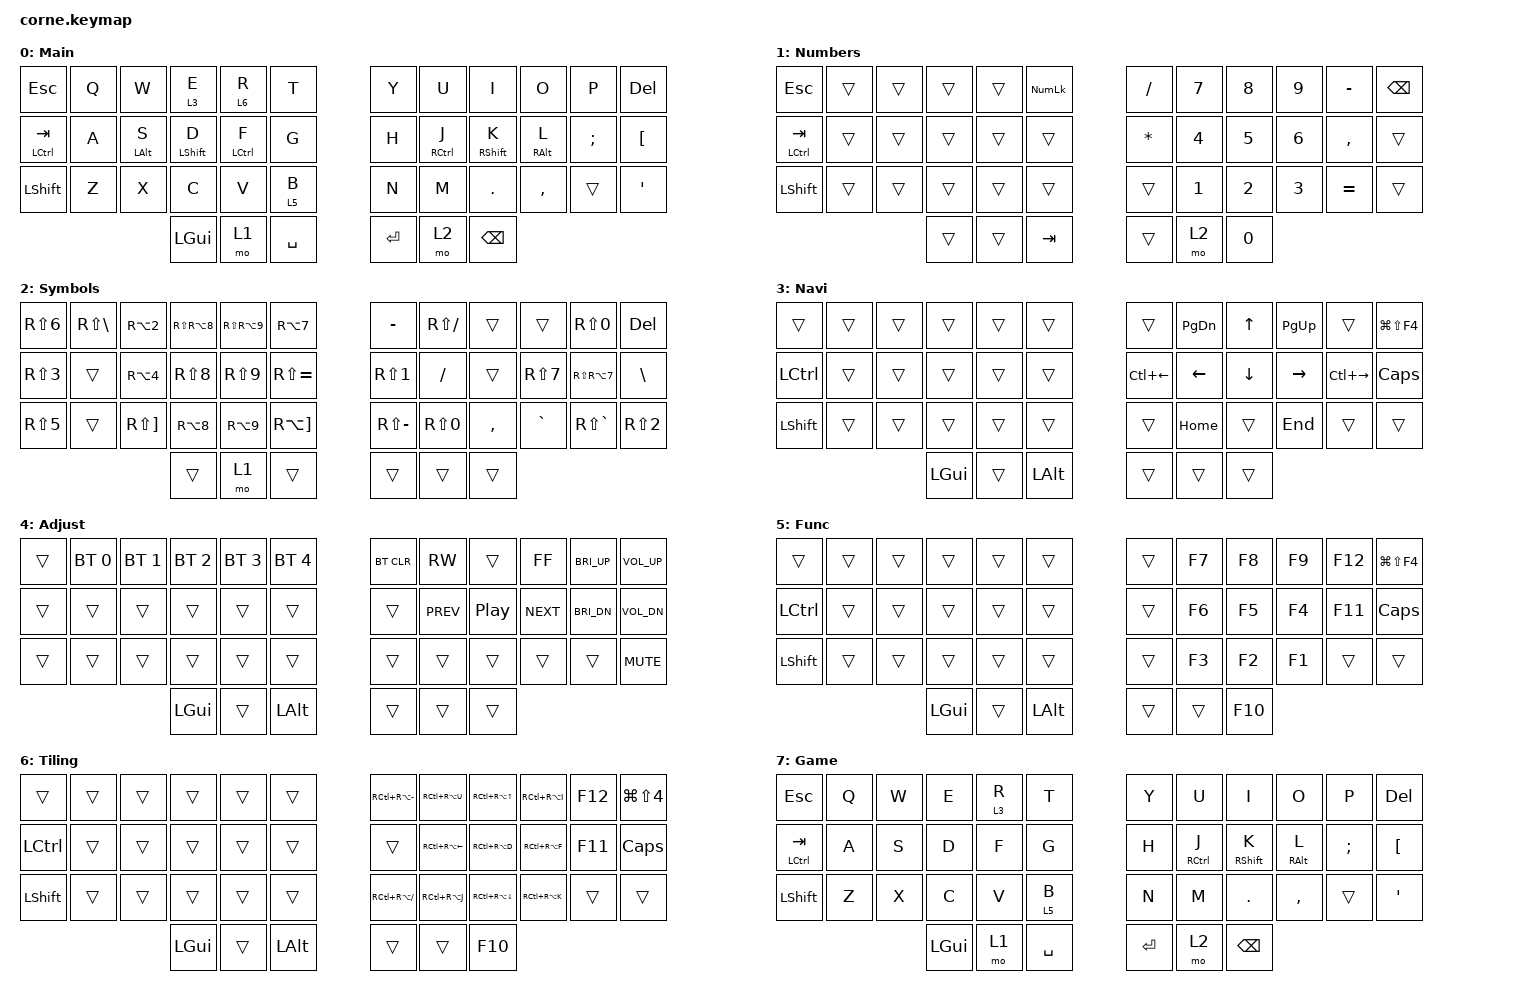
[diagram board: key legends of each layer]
/*
 * Copyright (c) 2020 The ZMK Contributors
 *
 * SPDX-License-Identifier: MIT
 */

#include <behaviors.dtsi>
#include <dt-bindings/zmk/keys.h>
#include <dt-bindings/zmk/bt.h>
#include <zmk-helpers/helper.h>
#include <zmk-helpers/key-labels/42.h>

#define DEF     0
#define NUM     1
#define CHARS   2
#define NAVI    3
#define ADJS    4
#define FUNC    5
#define WIN     6
#define GAM     7

#define LINUX 1

// Override key groups from 42.h to exclude outer columns (for HRM trigger positions)
#undef KEYS_L
#undef KEYS_R
#undef THUMBS
#define KEYS_L LT0 LT1 LT2 LT3 LT4 LM0 LM1 LM2 LM3 LM4 LB0 LB1 LB2 LB3 LB4  // left-hand keys
#define KEYS_R RT0 RT1 RT2 RT3 RT4 RM0 RM1 RM2 RM3 RM4 RB0 RB1 RB2 RB3 RB4  // right-hand keys
#define THUMBS LH2 LH1 LH0 RH0 RH1 RH2                                      // thumb keys

#define ___ &trans

#define HOST_OS LINUX // Needed for unicode international_chars

// "Timeless" homerow mods (based on urob's config)
// - balanced flavor: mod activates when another key is pressed+released while holding
// - hold-trigger-on-release: allows combining mods on same hand, prevents rolling misfires
// - 280ms tapping-term: large value makes behavior timer-insensitive
// - 175ms quick-tap: rapid same-key repeats always produce taps
// - 175ms require-prior-idle: eliminates HRM misfires during fast typing
ZMK_BEHAVIOR(hml, hold_tap,  // left-hand HRMs
    flavor = "balanced";
    tapping-term-ms = <280>;
    quick-tap-ms = <175>;
    require-prior-idle-ms = <175>;
    bindings = <&kp>, <&kp>;
    hold-trigger-key-positions = <KEYS_R THUMBS>;
    hold-trigger-on-release;
)

ZMK_BEHAVIOR(hmr, hold_tap,  // right-hand HRMs
    flavor = "balanced";
    tapping-term-ms = <280>;
    quick-tap-ms = <175>;
    require-prior-idle-ms = <175>;
    bindings = <&kp>, <&kp>;
    hold-trigger-key-positions = <KEYS_L THUMBS>;
    hold-trigger-on-release;
)

// Layer-taps with timeless settings (prevents accidental layer activation during fast typing)
// Same approach as HRMs: require-prior-idle prevents misfires, balanced flavor
// ensures layer only activates on deliberate hold + opposite-hand keypress
ZMK_BEHAVIOR(ltl, hold_tap,  // left-hand layer-taps (E/NAV, R/WIN, B/FUNC)
    flavor = "balanced";
    tapping-term-ms = <280>;
    quick-tap-ms = <175>;
    require-prior-idle-ms = <175>;
    bindings = <&mo>, <&kp>;
    hold-trigger-key-positions = <KEYS_R THUMBS>;
    hold-trigger-on-release;
)


// combos
#undef COMBO_TERM
#define COMBO_TERM 40  // timeout of 40ms (default is 30ms if omitted)
ZMK_COMBO(combo_copy,   &kp LC(C),  LB2 LB3, DEF NUM CHARS NAVI ADJS FUNC WIN)  // X+C keys → Ctrl+C
ZMK_COMBO(combo_paste,  &kp LC(V),  LB1 LB2, DEF NUM CHARS NAVI ADJS FUNC WIN)  // V+C keys → Ctrl+V
ZMK_COMBO(combo_undo,   &kp LC(Z),  LB3 LB4, DEF NUM CHARS NAVI ADJS FUNC WIN)  // Z+X keys → Ctrl+Z
ZMK_COMBO(combo_cut,    &kp LC(X),  LB1 LB3, DEF NUM CHARS NAVI ADJS FUNC WIN)  // V+X keys → Ctrl+X
ZMK_COMBO(toggle_game,  &tog GAM,   RT1 RT4, DEF GAM, 25, 500)                   // U+P keys → toggle gaming (tight 25ms window, 500ms idle required)
ZMK_COMBO(combo_caps,   &caps_word, LM0 RM0, DEF GAM)                            // G+H keys → caps word
ZMK_COMBO(combo_sticky_shift, &sk LSHIFT, LH0 RH0, DEF GAM)                     // Space+Enter → one-shot shift

// tri-layer: holding NUM + CHARS simultaneously activates Adjust layer
ZMK_CONDITIONAL_LAYER(adjust_tri, NUM CHARS, ADJS)


ZMK_LAYER(Main,
    // DEFAULT LAYER
    // .--------------------------------------------------------------.       .-----------------------------------------------------------.
    // |   ESC        |    Q    |    W   |  E/NAV | R/WIN   |    T    |       |   Y   |    U    |    I    |    O    |     P    |   BKSP   |
          &kp ESC       &kp Q    &kp W     &ltl 3 E  &ltl 6 R    &kp T            &kp Y      &kp U      &kp I      &kp O    &kp P  &kp DEL
    // |--------------+---------+--------+--------+---------+---------|       |-------+---------+---------+---------+----------+----------|
    // |   CTRL/Tab   |    A    |    S   |   D    | F       |    G    |       |   H   |    J    |    K    |    L    |     Ö    |     Ä    |
          &mt LCTRL TAB &kp A    &hml LALT S  &hml LSHIFT D &hml LCTRL F &kp G    &kp H   &hmr RCTRL J &hmr RSHIFT K &hmr RALT L  &kp SEMI &kp LBKT
    // |--------------+---------+--------+--------+---------+---------|       |-------+---------+---------+---------+----------+----------|
    // |   SHFT       |    Z    |    X   |   C    |    V    | B/FUNC  |       |   N   |    M    |    .    |    ,    |          |    Ä    |
          &kp LSHIFT    &kp Z    &kp X    &kp C    &kp V    &ltl 5 B            &kp N    &kp M     &kp DOT   &kp COMMA ___  &kp SQT
    // '---------------------------------+--------+---------+---------+       |-------+---------+---------+-------------------------------'
    //                                   |  GUI   |  NUM    |   SPC   |       |  ENT  |  CHARS  |  BKSP   |
                                          &kp LGUI  &mo 1  &kp SPACE          &kp RET &mo 2 &kp BSPC
    //                                   '--------+---------+---------'       '-------+---------+---------'

)



ZMK_LAYER(Numbers,
    // NUMBERS Layer: Media and Number Pad
    // .--------------------------------------------------------------.    .-----------------------------------------------------------.
    // |     ESC      |         |        |        |         | Numlock |    |  / ?  |   7 &   |   8 *   |   9 (   |   - _    |   BKSP   |
          &kp ESC      ___    ___    ___    ___ &kp KP_NUMLOCK    &kp FSLH    &kp NUMBER_7  &kp NUMBER_8  &kp NUMBER_9  &kp MINUS  &kp BSPC
    // |--------------+---------+--------+--------+---------+---------|    |-------+---------+---------+---------+----------+----------|
    // |  CTRL/Tab    |         |        |        |         |         |    |   *   |   4 $   |   5 %   |   6 ^   |   , <    |          |
          &mt LCTRL TAB  ___    ___    ___    ___    ___            &kp STAR    &kp NUMBER_4  &kp NUMBER_5  &kp NUMBER_6  &kp COMMA  ___
    // |--------------+---------+--------+--------+---------+---------|    |-------+---------+---------+---------+----------+----------|
    // |  SHIFT       |         |        |        |         |         |    |       |   1 !   |   2 @   |   3 #   |   = +    |          |
          &kp LSHIFT     ___    ___    ___    ___    ___            ___      &kp NUMBER_1  &kp NUMBER_2  &kp NUMBER_3  &kp EQUAL  ___
    // '---------------------------------+--------+---------+---------+    |-------+---------+---------+-------------------------------'
    //                                   |        |         |         |    |       |         |    0 )  |
                                          ___    ___    &kp TAB            ___        &mo 2     &kp NUMBER_0
    //                                   '--------+---------+---------'    '-------+---------+---------'
)


ZMK_LAYER(Symbols,
    // RAISE Layer: Special Chars (Swedish OS layout keycodes)
    // .--------------------------------------------------------------.    .-----------------------------------------------------------.
    // |       &      |   *     |    @   |   {    |    }    |    |    |    |   +   |    -    |         |         |    =     |   DEL    |
          &kp RS(N6)  &kp RS(BSLH)  &kp RA(N2)  &kp RS(RA(N8))  &kp RS(RA(N9)) &kp RA(N7)  &kp MINUS &kp RS(FSLH)  ___  ___  &kp RS(N0) &kp DELETE
    // |--------------+---------+--------+--------+---------+---------|    |-------+---------+---------+---------+----------+----------|
    // |       #      |         |    $   |   (    |    )    |    `    |    |   !   |    _    |         |    /    |   \      |     '    |
          &kp RS(N3)  ___     &kp RA(N4)   &kp RS(N8)    &kp RS(N9) &kp RS(EQUAL)  &kp RS(N1)  &kp FSLH ___  &kp RS(N7) &kp RS(RA(N7)) &kp BSLH
    // |--------------+---------+--------+--------+---------+---------|    |-------+---------+---------+---------+----------+----------|
    // |       %      |         |    ^   |   [    |    ]    |    ~    |    |   ?   |    =    |    ,    |    <    |   >      |    ""    |
          &kp RS(N5)  ___     &kp RS(RBKT) &kp RA(N8)   &kp RA(N9) &kp RA(RBKT)  &kp RS(MINUS) &kp RS(N0) &kp COMMA &kp GRAVE &kp RS(GRAVE) &kp RS(N2)
    // '---------------------------------+--------+---------+---------+    |-------+---------+---------+-------------------------------'
    //                                   |        |  NUM    |         |    |       |         |         |
                                          ___   &mo 1     ___       ___    ___     ___
    //                                   '--------+---------+---------'    '-------+---------+---------'
)


ZMK_LAYER(Navi,
    // NAVIGATION Layer: Directions
    // .--------------------------------------------------------------.    .-----------------------------------------------------------.
    // |              |         |        |        |         |         |    |       |  PG DN  |   UP    |  PG UP  |          |  PrtScn  |
          ___        ___    ___    ___    ___    ___      ___    &kp PG_DN  &kp UP    &kp PG_UP  ___     &kp LG(LS(F4))
    // |--------------+---------+--------+--------+---------+---------|    |----------+---------+---------+---------+----------+----------|
    // |     CTRL     |         |        |        |         |         |    | WORD LEFT|  LEFT   |  DOWN   |  RIGHT  | WORD RIGHT| CAPS LCK |
          &kp LCTRL     ___    ___    ___    ___    ___      &kp LC(LEFT)  &kp LEFT  &kp DOWN  &kp RIGHT  &kp LC(RIGHT)  &kp CLCK
    // |--------------+---------+--------+--------+---------+---------|    |-------+---------+---------+---------+----------+----------|
    // |     SHIFT    |         |        |        |         |         |    |       | PG HOME |         | PG END  |          |          |
          &kp LSHIFT    ___    ___    ___    ___    ___      ___    &kp HOME  ___    &kp END    ___     ___
    // '---------------------------------+--------+---------+---------+    |-------+---------+---------+-------------------------------'
    //                                   |  GUI   |         |   ALT   |    |       |         |         |
                                        &kp LGUI  ___    &kp LALT      ___    ___    ___
    //                                   '--------+---------+---------'    '-------+---------+---------'
)


    ZMK_LAYER(Adjust,
    // ADJUST Layer: Setting and Configurations
    // .------------------------------------------------------------.    .-------------------------------------------------------------.
    // |        |  BT 0   |  BT 1  |  BT 2  |  BT 3   |  BT 4   |    |  BT CLR |   Rew   |         |   FFwd  | Bright Up|  Vol Up  |
         ___      &bt BT_SEL 0  &bt BT_SEL 1  &bt BT_SEL 2  &bt BT_SEL 3  &bt BT_SEL 4  &bt BT_CLR &kp C_RW ___      &kp C_FF &kp C_BRI_UP &kp C_VOL_UP
    // |------------+---------+--------+--------+---------+---------|    |---------+---------+---------+---------+----------+----------|
    // |            |         |        |        |         |         |    |         |  Prev   |Play/Paus|  Next   |Bright Dn |  Vol Dn  |
             ___      ___         ___        ___        ___       ___      ___     &kp C_PREV &kp C_PP   &kp C_NEXT &kp C_BRI_DN &kp C_VOL_DN
    // |------------+---------+--------+--------+---------+---------|    |---------+---------+---------+---------+----------+----------|
    // |            |         |        |        |         |         |    |         |         |         |         |          |  Mute    |
             ___      ___         ___        ___        ___       ___      ___     ___     ___     ___     ___      &kp K_MUTE
    // '-------------------------------+--------+---------+---------+    |---------+---------+---------+-------------------------------'
    //                                 |  GUI   |         |  Alt    |    |         |         |         |
                                       &kp LGUI  ___    &kp LALT        ___ ___    ___
    //                                 '--------+---------+---------'    '---------+---------+---------'
)


ZMK_LAYER(Func,
    // Function Layer: Functionality
    // .--------------------------------------------------------------.    .-----------------------------------------------------------.
    // |              |         |        |        |         |         |    |       |  F7     |  F8     |  F9     |  F12     |  PrtScn  |
              ___    ___    ___    ___    ___    ___       ___   &kp F7   &kp F8    &kp F9    &kp F12    &kp LG(LS(F4))
    // |--------------+---------+--------+--------+---------+---------|    |-------+---------+---------+---------+----------+----------|
    // |     CTRL     |         |        |        |         |         |    |       |  F6     |  F5     |  F4     |  F11     | CAPS LCK |
          &kp LCTRL   ___    ___    ___    ___    ___        ___    &kp F6   &kp F5    &kp F4    &kp F11    &kp CLCK
    // |--------------+---------+--------+--------+---------+---------|    |-------+---------+---------+---------+----------+----------|
    // |     SHIFT    |         |        |        |         |         |    |       |  F3     |  F2     |  F1     |          |          |
          &kp LSHIFT  ___    ___    ___    ___    ___         ___   &kp F3   &kp F2    &kp F1    ___     ___
    // '---------------------------------+--------+---------+---------+    |-------+---------+---------+-------------------------------'
    //                                   |  GUI   |         |   ALT   |    |       |         |  F10    |
                                          &kp LGUI  ___    &kp LALT      ___    ___    &kp F10
    //                                   '--------+---------+---------'    '-------+---------+---------'
)


        ZMK_LAYER(Tiling,
    // Window Layer: Windows
    // .--------------------------------------------------------------.    .-----------------------------------------------------------.
    // |              |         |        |        |         |         |    |   +   |  UL     |  UM     |  UR     |  F12     |  PrtScn  |
             ___    ___    ___    ___    ___    ___      &kp RC(RA(MINUS))  &kp RC(RA(U))  &kp RC(RA(UP))  &kp RC(RA(I))  &kp F12  &kp LG(LS(N4))
    // |--------------+---------+--------+--------+---------+---------|    |-------+---------+---------+---------+----------+----------|
    // |     CTRL     |         |        |        |         |         |    |       |  ML     |  MM     |  MR     |  F11     | CAPS LCK |
          &kp LCTRL   ___    ___    ___    ___    ___      ___              &kp RC(RA(LEFT))  &kp RC(RA(D)) &kp RC(RA(F))  &kp F11  &kp CLCK
    // |--------------+---------+--------+--------+---------+---------|    |-------+---------+---------+---------+----------+----------|
    // |     SHIFT    |         |        |        |         |         |    |   -   |  BL     |  ML     |  MR     |          |          |
          &kp LSHIFT  ___    ___    ___    ___    ___      &kp RC(RA(FSLH))   &kp RC(RA(J)) &kp RC(RA(DOWN)) &kp RC(RA(K)) ___    ___
    // '---------------------------------+--------+---------+---------+    |-------+---------+---------+-------------------------------'
    //                                   |  GUI   |         |   ALT   |    |       |         |  F10    |
                                      &kp LGUI  ___    &kp LALT        ___             ___     &kp F10
    //                                   '--------+---------+---------'    '-------+---------+---------'
)

ZMK_LAYER(Game,
    // DEFAULT LAYER
    // .--------------------------------------------------------------.       .-----------------------------------------------------------.
    // |   ESC        |    Q    |    W   |  E/NAV | R/NAV    |    T    |       |   Y   |    U    |    I    |    O    |     P    |   BKSP   |
          &kp ESC       &kp Q    &kp W     &kp  E  &ltl 3 R    &kp T            &kp Y      &kp U      &kp I      &kp O    &kp P  &kp DEL
    // |--------------+---------+--------+--------+---------+---------|       |-------+---------+---------+---------+----------+----------|
    // |   CTRL/Tab   |    A    |    S   |   D    | F       |    G    |       |   H   |    J    |    K    |    L    |     Ö    |     Ä    |
          &mt LCTRL TAB &kp A    &kp S  &kp D     &kp F     &kp G                &kp H   &hmr RCTRL J &hmr RSHIFT K &hmr RALT L  &kp SEMI &kp LBKT
    // |--------------+---------+--------+--------+---------+---------|       |-------+---------+---------+---------+----------+----------|
    // |   SHFT       |    Z    |    X   |   C    |    V    | B/FUNC  |       |   N   |    M    |    .    |    ,    |          |    Ä     |
          &kp LSHIFT    &kp Z    &kp X    &kp C    &kp V    &ltl 5 B            &kp N    &kp M     &kp DOT   &kp COMMA ___  &kp SQT
    // '---------------------------------+--------+---------+---------+       |-------+---------+---------+-------------------------------'
    //                                   |  GUI   |  NUM    |   SPC   |       |  ENT  |  CHARS  |  BKSP   |
                                          &kp LGUI  &mo 1  &kp SPACE          &kp RET &mo 2 &kp BSPC
    //                                   '--------+---------+---------'       '-------+---------+---------'

)

